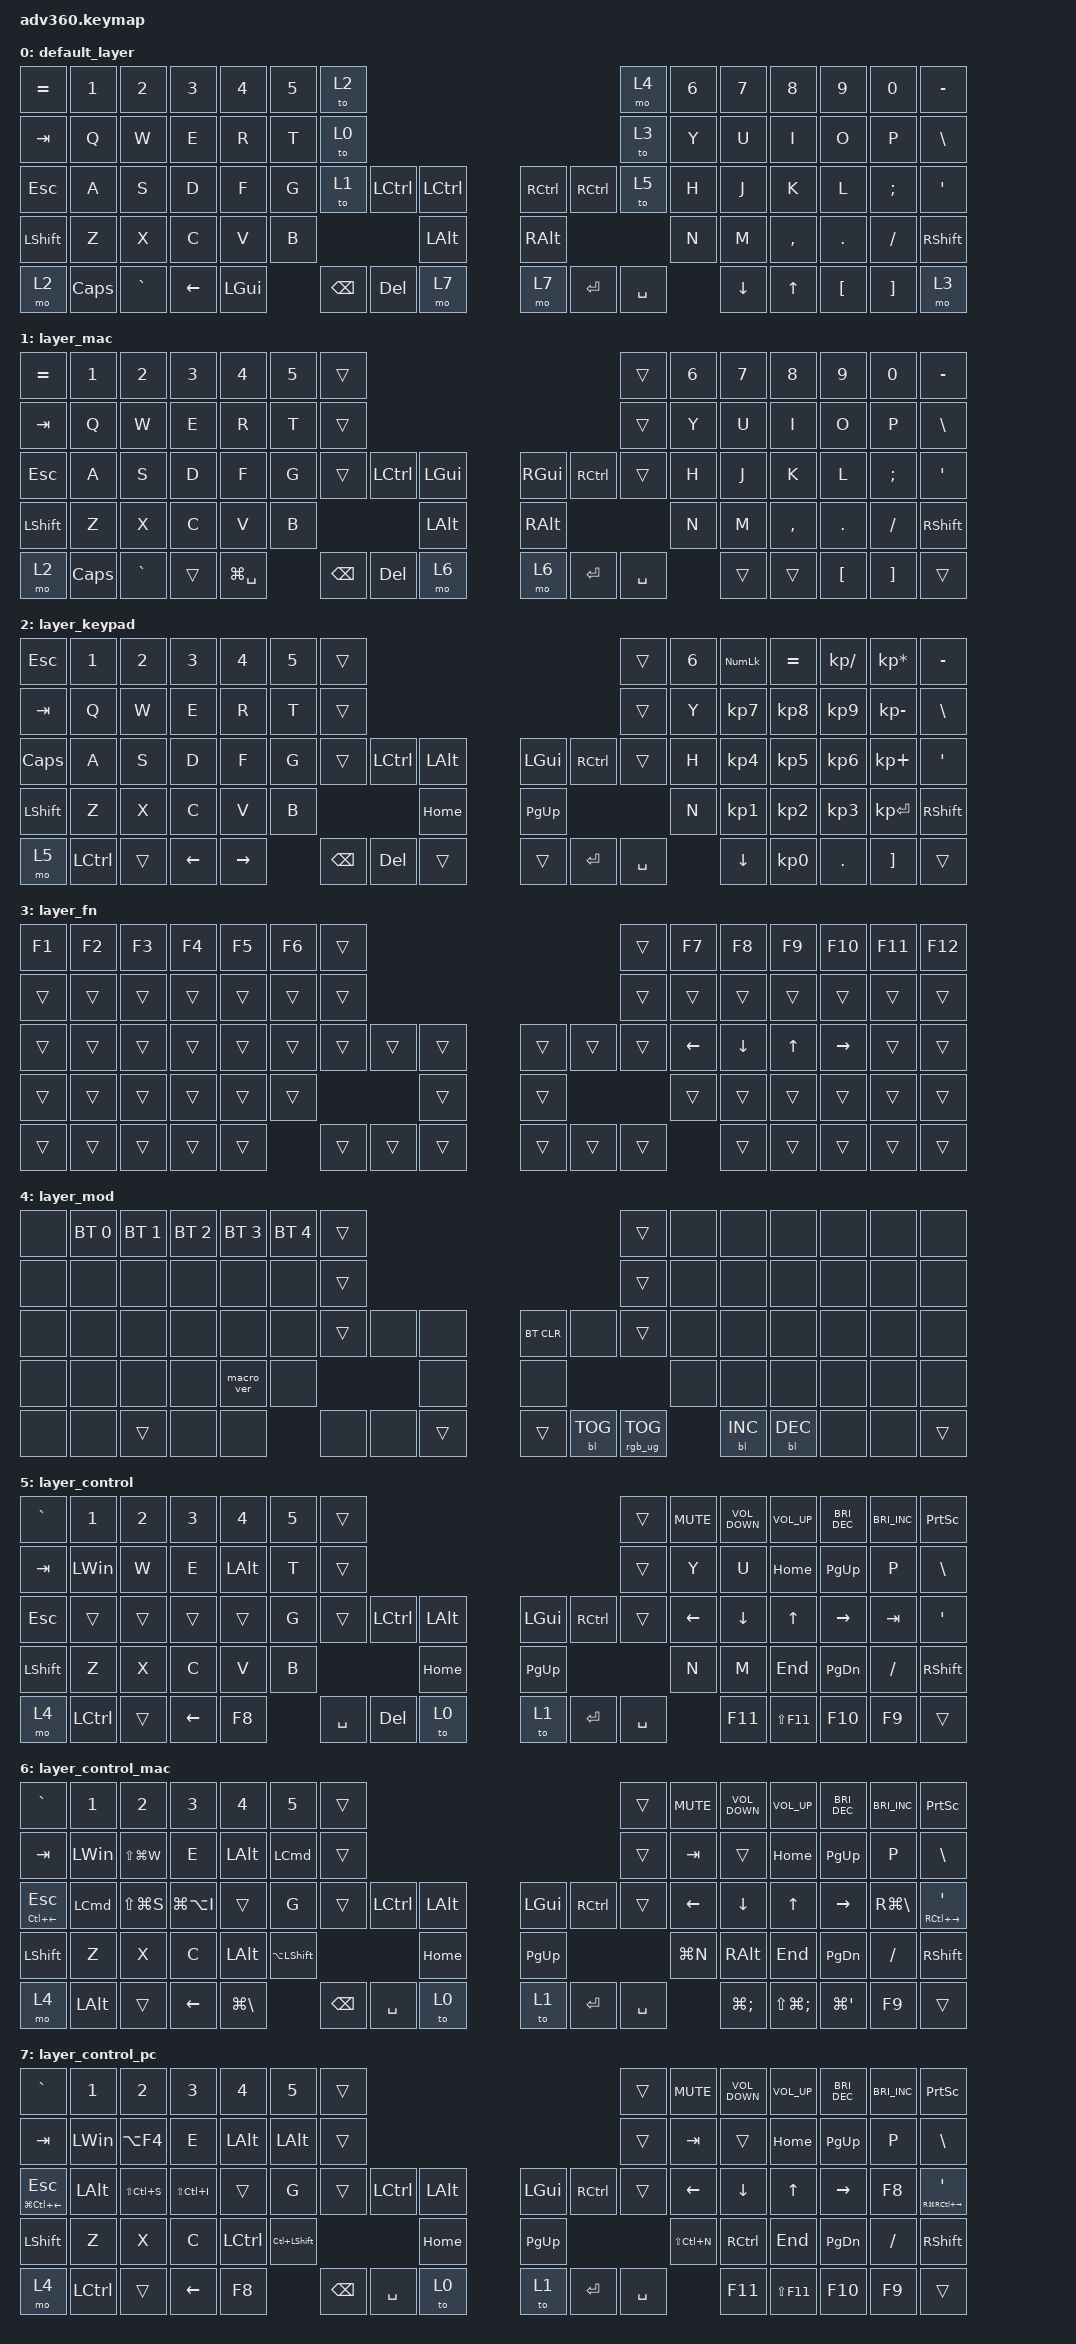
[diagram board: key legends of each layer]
/*
 * Copyright (c) 2020 The ZMK Contributors
 *
 * SPDX-License-Identifier: MIT
 */
/* THIS FILE WAS GENERATED!
 *
 * This file was generated automatically. You may or may not want to
 * edit it directly.
 */

#include <behaviors.dtsi>
#include <dt-bindings/zmk/backlight.h>
#include <dt-bindings/zmk/bt.h>
#include <dt-bindings/zmk/keys.h>
#include <dt-bindings/zmk/rgb.h>

/ {
    behaviors {
        #include "macros.dtsi"
    #include "version.dtsi"

        hm: homerow_mods {
            compatible = "zmk,behavior-hold-tap";
            label = "HOMEROW_MODS";
            #binding-cells = <2>;
            tapping-term-ms = <250>;
            quick_tap_ms = <175>;
            flavor = "tap-preferred";
            bindings = <&kp>, <&kp>;
        };

        shm: single_hold_many {
            compatible = "zmk,behavior-hold-tap";
            label = "SINGLE_HOLD_MANY";
            #binding-cells = <2>;
            tapping-term-ms = <50>;
            quick_tap_ms = <175>;
            flavor = "tap-preferred";
            bindings = <&kp>, <&kp>;
        };

        mw_hm: mw_hm {
            compatible = "zmk,behavior-hold-tap";
            label = "MW_HM";
            #binding-cells = <2>;
            tapping-term-ms = <200>;
            quick_tap_ms = <175>;
            flavor = "tap-preferred";
            bindings = <&kp>, <&kp>;
        };
    };

    macros {
        left_desktop_macro: left_desktop_macro {
            compatible = "zmk,behavior-macro";
            #binding-cells = <0>;
            bindings = <&none>, <&macro_press>, <&kp LC(LEFT)>, <&macro_press>;

            label = "LEFT_DESKTOP_MACRO";
        };
    };

    combos {
        compatible = "zmk,combos";

        mac_devtool_toggle {
            bindings = <&kp LG(LA(I))>;
            key-positions = <31 67>;
            layers = <6>;
            timeout-ms = <250>;
        };

        pc_devtool_toggle {
            bindings = <&kp LS(LC(I))>;
            key-positions = <31 19>;
            timeout-ms = <250>;
            layers = <7>;
        };
    };

    keymap {
        compatible = "zmk,keymap";

        default_layer {
            bindings = <
&kp EQUAL   &kp N1    &kp N2     &kp N3          &kp N4    &kp N5  &to 2                                                                         &mo 4      &kp N6  &kp N7          &kp N8        &kp N9    &kp N0    &kp MINUS
&kp TAB     &kp Q     &kp W      &kp E           &kp R     &kp T   &to 0                                                                         &to 3      &kp Y   &kp U           &kp I         &kp O     &kp P     &kp BSLH
&kp ESCAPE  &kp A     &kp S      &kp D           &kp F     &kp G   &to 1          &kp LCTRL  &kp LEFT_CONTROL      &kp RIGHT_CONTROL  &kp RCTRL  &to 5      &kp H   &kp J           &kp K         &kp L     &kp SEMI  &kp SQT
&kp LSHFT   &kp Z     &kp X      &kp C           &kp V     &kp B                             &kp LALT              &kp RALT                                 &kp N   &kp M           &kp COMMA     &kp DOT   &kp FSLH  &kp RSHFT
&mo 2       &kp CAPS  &kp GRAVE  &kp LEFT_ARROW  &kp LGUI          &kp BACKSPACE  &kp DEL    &mo 7                 &mo 7              &kp ENTER  &kp SPACE          &kp DOWN_ARROW  &kp UP_ARROW  &kp LBKT  &kp RBKT  &mo 3
            >;
        };

        layer_mac {
            bindings = <
&kp EQUAL   &kp N1    &kp N2     &kp N3  &kp N4         &kp N5  &trans                                                       &trans     &kp N6  &kp N7  &kp N8     &kp N9    &kp N0    &kp MINUS
&kp TAB     &kp Q     &kp W      &kp E   &kp R          &kp T   &trans                                                       &trans     &kp Y   &kp U   &kp I      &kp O     &kp P     &kp BSLH
&kp ESCAPE  &kp A     &kp S      &kp D   &kp F          &kp G   &trans         &kp LCTRL  &kp LGUI      &kp RGUI  &kp RCTRL  &trans     &kp H   &kp J   &kp K      &kp L     &kp SEMI  &kp SQT
&kp LSHFT   &kp Z     &kp X      &kp C   &kp V          &kp B                             &kp LALT      &kp RALT                        &kp N   &kp M   &kp COMMA  &kp DOT   &kp FSLH  &kp RSHFT
&mo 2       &kp CAPS  &kp GRAVE  &trans  &kp LG(SPACE)          &kp BACKSPACE  &kp DEL    &mo 6         &mo 6     &kp ENTER  &kp SPACE          &trans  &trans     &kp LBKT  &kp RBKT  &trans
            >;
        };

        layer_keypad {
            bindings = <
&kp ESCAPE  &kp NUMBER_1  &kp N2  &kp N3    &kp N4     &kp N5  &trans                                                   &trans     &kp NUMBER_6  &kp KP_NUM       &kp EQUAL        &kp KP_DIVIDE    &kp KP_MULTIPLY  &kp MINUS
&kp TAB     &kp Q         &kp W   &kp E     &kp R      &kp T   &trans                                                   &trans     &kp Y         &kp KP_N7        &kp KP_N8        &kp KP_N9        &kp KP_SUBTRACT  &kp BSLH
&kp CAPS    &kp A         &kp S   &kp D     &kp F      &kp G   &trans    &kp LCTRL  &kp LALT      &kp LGUI   &kp RCTRL  &trans     &kp H         &kp KP_NUMBER_4  &kp KP_NUMBER_5  &kp KP_NUMBER_6  &kp KP_PLUS      &kp APOS
&kp LSHFT   &kp Z         &kp X   &kp C     &kp V      &kp B                        &kp HOME      &kp PG_UP                        &kp N         &kp KP_NUMBER_1  &kp KP_N2        &kp KP_N3        &kp KP_ENTER     &kp RSHFT
&mo 5       &kp LCTRL     &trans  &kp LEFT  &kp RIGHT          &kp BSPC  &kp DEL    &trans        &trans     &kp ENTER  &kp SPACE                &kp DOWN_ARROW   &kp KP_NUMBER_0  &kp PERIOD       &kp RBKT         &trans
            >;
        };

        layer_fn {
            bindings = <
&kp F1  &kp F2  &kp F3  &kp F4  &kp F5  &kp F6  &trans                                      &trans  &kp F7          &kp F8          &kp F9        &kp F10    &kp F11  &kp F12
&trans  &trans  &trans  &trans  &trans  &trans  &trans                                      &trans  &trans          &trans          &trans        &trans     &trans   &trans
&trans  &trans  &trans  &trans  &trans  &trans  &trans  &trans  &trans      &trans  &trans  &trans  &kp LEFT_ARROW  &kp DOWN_ARROW  &kp UP_ARROW  &kp RIGHT  &trans   &trans
&trans  &trans  &trans  &trans  &trans  &trans                  &trans      &trans                  &trans          &trans          &trans        &trans     &trans   &trans
&trans  &trans  &trans  &trans  &trans          &trans  &trans  &trans      &trans  &trans  &trans                  &trans          &trans        &trans     &trans   &trans
            >;
        };

        layer_mod {
            bindings = <
&none  &bt BT_SEL 0  &bt BT_SEL 1  &bt BT_SEL 2  &bt BT_SEL 3  &bt BT_SEL 4  &trans                                             &trans           &none  &none       &none       &none  &none  &none
&none  &none         &none         &none         &none         &none         &trans                                             &trans           &none  &none       &none       &none  &none  &none
&none  &none         &none         &none         &none         &none         &trans  &none  &none       &bt BT_CLR  &none       &trans           &none  &none       &none       &none  &none  &none
&none  &none         &none         &none         &macro_ver    &none                        &none       &none                                    &none  &none       &none       &none  &none  &none
&none  &none         &trans        &none         &none                       &none   &none  &trans      &trans      &bl BL_TOG  &rgb_ug RGB_TOG         &bl BL_INC  &bl BL_DEC  &none  &none  &trans
            >;
        };

        layer_control {
            bindings = <
&kp GRAVE   &kp NUMBER_1  &kp N2  &kp N3    &kp N4        &kp N5  &trans                                                    &trans     &kp C_MUTE      &kp C_VOLUME_DOWN  &kp C_VOLUME_UP  &kp C_BRIGHTNESS_DEC  &kp C_BRIGHTNESS_INC  &kp PRINTSCREEN
&kp TAB     &kp LEFT_WIN  &kp W   &kp E     &kp LEFT_ALT  &kp T   &trans                                                    &trans     &kp Y           &kp U              &kp HOME         &kp PAGE_UP           &kp P                 &kp BSLH
&kp ESCAPE  &trans        &trans  &trans    &trans        &kp G   &trans     &kp LCTRL  &kp LALT      &kp LGUI   &kp RCTRL  &trans     &kp LEFT_ARROW  &kp DOWN_ARROW     &kp UP_ARROW     &kp RIGHT_ARROW       &kp TAB               &kp APOS
&kp LSHFT   &kp Z         &kp X   &kp C     &kp V         &kp B                         &kp HOME      &kp PG_UP                        &kp N           &kp M              &kp END          &kp PAGE_DOWN         &kp SLASH             &kp RSHFT
&mo 4       &kp LCTRL     &trans  &kp LEFT  &kp F8                &kp SPACE  &kp DEL    &to 0         &to 1      &kp ENTER  &kp SPACE                  &kp F11            &kp LS(F11)      &kp F10               &kp F9                &trans
            >;
        };

        layer_control_mac {
            bindings = <
&kp GRAVE                   &kp NUMBER_1  &kp N2         &kp N3         &kp N4        &kp N5              &trans                                                        &trans     &kp C_MUTE      &kp C_VOLUME_DOWN  &kp C_VOL_UP      &kp C_BRI_DEC    &kp C_BRIGHTNESS_INC  &kp PRINTSCREEN
&kp TAB                     &kp LEFT_WIN  &kp LS(LG(W))  &kp E          &kp LEFT_ALT  &kp LCMD            &trans                                                        &trans     &kp TAB         &trans             &kp HOME          &kp PG_UP        &kp P                 &kp BSLH
&shm LC(LEFT_ARROW) ESCAPE  &kp LCMD      &kp LS(LG(S))  &kp LG(LA(I))  &trans        &kp G               &trans         &kp LCTRL  &kp LALT      &kp LGUI   &kp RCTRL  &trans     &kp LEFT_ARROW  &kp DOWN_ARROW     &kp UP_ARROW      &kp RIGHT_ARROW  &kp RG(BACKSLASH)     &shm RC(RIGHT) SQT
&kp LSHFT                   &kp Z         &kp X          &kp C          &kp LALT      &kp LA(LEFT_SHIFT)                            &kp HOME      &kp PG_UP                        &kp LG(N)       &kp RIGHT_ALT      &kp END           &kp PG_DN        &kp SLASH             &kp RSHFT
&mo 4                       &kp LEFT_ALT  &trans         &kp LEFT       &kp LG(BSLH)                      &kp BACKSPACE  &kp SPACE  &to 0         &to 1      &kp ENTER  &kp SPACE                  &kp LG(SEMI)       &kp LS(LG(SEMI))  &kp LG(APOS)     &kp F9                &trans
            >;
        };

        layer_control_pc {
            bindings = <
&kp GRAVE                       &kp NUMBER_1  &kp N2         &kp N3         &kp N4        &kp N5              &trans                                                        &trans     &kp C_MUTE      &kp C_VOLUME_DOWN  &kp C_VOL_UP  &kp C_BRIGHTNESS_DEC  &kp C_BRIGHTNESS_INC  &kp PRINTSCREEN
&kp TAB                         &kp LEFT_WIN  &kp LA(F4)     &kp E          &kp LEFT_ALT  &kp LEFT_ALT        &trans                                                        &trans     &kp TAB         &trans             &kp HOME      &kp PAGE_UP           &kp P                 &kp BSLH
&shm LG(LC(LEFT_ARROW)) ESCAPE  &kp LALT      &kp LS(LC(S))  &kp LS(LC(I))  &trans        &kp G               &trans         &kp LCTRL  &kp LALT      &kp LGUI   &kp RCTRL  &trans     &kp LEFT_ARROW  &kp DOWN_ARROW     &kp UP_ARROW  &kp RIGHT_ARROW       &kp F8                &shm RG(RC(RIGHT)) SQT
&kp LSHFT                       &kp Z         &kp X          &kp C          &kp LCTRL     &kp LC(LEFT_SHIFT)                            &kp HOME      &kp PG_UP                        &kp LS(LC(N))   &kp RCTRL          &kp END       &kp PAGE_DOWN         &kp SLASH             &kp RSHFT
&mo 4                           &kp LCTRL     &trans         &kp LEFT       &kp F8                            &kp BACKSPACE  &kp SPACE  &to 0         &to 1      &kp ENTER  &kp SPACE                  &kp F11            &kp LS(F11)   &kp F10               &kp F9                &trans
            >;
        };
    };
};
